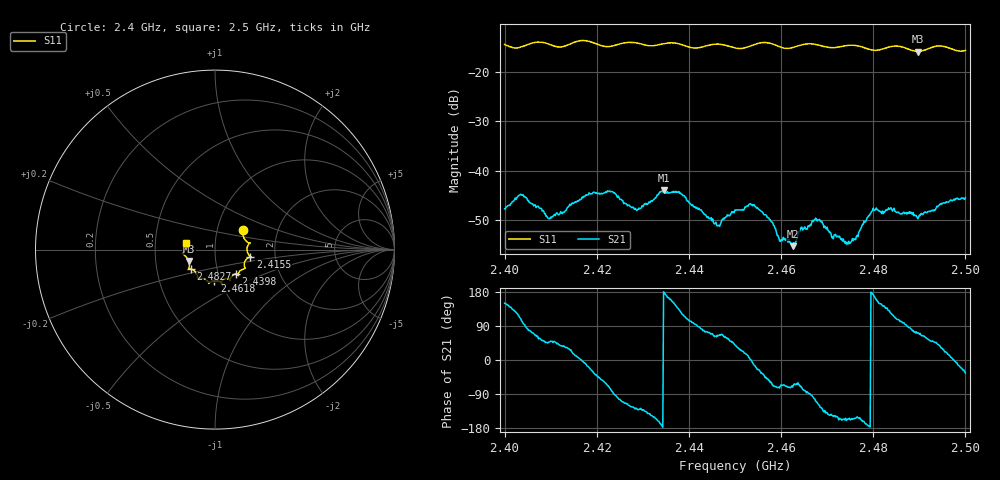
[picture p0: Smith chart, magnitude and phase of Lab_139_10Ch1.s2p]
# Hz S RI R 50
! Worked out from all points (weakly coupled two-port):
!   601 points, 2.4 GHz to 2.5 GHz, reference 50 ohm
!   highest |S21| = -44.04 dB at 2.4347 GHz (marker M1); lowest = -55.3 dB at 2.4625 GHz (marker M2)
!   lowest |S11| = -15.9 dB at 2.4897 GHz (marker M3), VSWR 1.38, Z = 36.9 - j4.81 ohm
!   |S11| at or under -10 dB: start of sweep to end of sweep
!   S12 and S22 are empty: the file has one direction only
!   S11 on the Smith chart (normalised r, x): 2.4 GHz: 1.33, +0.29; 2.4155 GHz: 1.49, -0.12; 2.4398 GHz: 1.21, -0.34; 2.4618 GHz: 0.94, -0.33; 2.4827 GHz: 0.75, -0.17; 2.5 GHz: 0.72, +0.06
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2.4e9  0.1557 0.1065  -0.00354 0.00207  0 0  0 0
2.403667e9  0.1709 0.0504  -0.00134 0.00549  0 0  0 0
2.409833e9  0.186 0.0284  0.00217 0.00245  0 0  0 0
2.4155e9  0.1975 -0.0395  0.00469 0.000927  0 0  0 0
2.416667e9  0.2021 -0.0429  0.00515 -2.74e-07  0 0  0 0
2.422833e9  0.164 -0.0741  0.00165 -0.00598  0 0  0 0
2.429e9  0.1624 -0.1065  -0.00268 -0.00302  0 0  0 0
2.433333e9  0.1301 -0.1345  -0.00539 -0.00185  0 0  0 0
2.434667e9  0.129 -0.1429  -0.00627 0.000354  0 0  0 0
2.439833e9  0.1152 -0.1362  -0.0014 0.00471  0 0  0 0
2.446167e9  0.084 -0.1705  0.00115 0.00249  0 0  0 0
2.45e9  0.0648 -0.1616  0.0031 0.00253  0 0  0 0
2.453833e9  0.0359 -0.1824  0.00436 -0.000592  0 0  0 0
2.461833e9  -0.00317 -0.1728  0.000583 -0.00178  0 0  0 0
2.4625e9  -0.0122 -0.1751  0.000542 -0.00163  0 0  0 0
2.466667e9  -0.0346 -0.1881  -0.000166 -0.00301  0 0  0 0
2.474667e9  -0.0922 -0.1603  -0.00175 -0.000796  0 0  0 0
2.480167e9  -0.1115 -0.1216  -0.00389 0.000787  0 0  0 0
2.482667e9  -0.135 -0.1087  -0.00286 0.00271  0 0  0 0
2.483333e9  -0.1403 -0.1082  -0.00272 0.00319  0 0  0 0
2.489667e9  -0.1469 -0.0635  0.001 0.0031  0 0  0 0
2.5e9  -0.1595 0.039  0.00441 -0.00298  0 0  0 0
